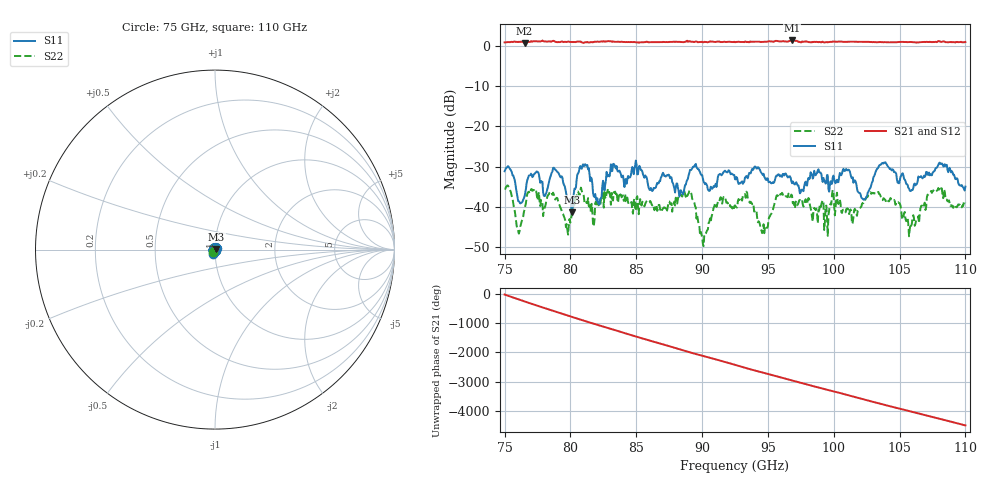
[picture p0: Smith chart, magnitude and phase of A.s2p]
!Created with skrf (http://scikit-rf.org).
# GHz S RI R 50.0
!freq ReS11 ImS11 ReS21 ImS21 ReS12 ImS12 ReS22 ImS22
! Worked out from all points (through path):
!   647 points, 75 GHz to 110 GHz, reference 50 ohm
!   highest |S21| = 1.26 dB at 96.83 GHz (marker M1); lowest = 0.7 dB at 76.52 GHz (marker M2)
!   lowest |S11| = -41.4 dB at 80.1 GHz (marker M3), VSWR 1.02, Z = 50.8 + j0.357 ohm
!   |S11| at or under -10 dB: start of sweep to end of sweep
!   |S22| runs from -49.7 to -34.7 dB; largest |S21 - S12| = 0
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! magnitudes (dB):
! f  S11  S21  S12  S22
! 75 GHz  -31.2  0.8  0.8  -35.5
! 76.03 GHz  -38.5  0.9  0.9  -46.1
! 76.52 GHz  -37.4  0.7  0.7  -40.7
! 78.85 GHz  -30.8  0.9  0.9  -38.2
! 80.1 GHz  -41.4  0.9  0.9  -42.1
! 80.85 GHz  -30.6  0.8  0.8  -35.9
! 82.1 GHz  -39.1  1.0  1.0  -38.8
! 83.24 GHz  -29.4  1.0  1.0  -38.4
! 86.7 GHz  -34.1  0.8  0.8  -39.5
! 89.09 GHz  -30.8  1.1  1.1  -36.0
! 90.12 GHz  -33.7  0.8  0.8  -49.7
! 91.31 GHz  -32.0  1.0  1.0  -38.7
! 92.5 GHz  -33.1  0.8  0.8  -39.6
! 93.31 GHz  -32.6  1.0  1.0  -37.8
! 94.61 GHz  -32.1  0.9  0.9  -46.2
! 96.83 GHz  -34.1  1.3  1.3  -37.2
! 98.35 GHz  -32.0  0.8  0.8  -42.5
! 102.3 GHz  -38.3  0.9  0.9  -38.6
! 104.2 GHz  -30.3  0.8  0.8  -38.6
! 105.8 GHz  -35.9  0.9  0.9  -45.4
! 107.6 GHz  -31.4  0.9  0.9  -36.0
! 110 GHz  -35.0  0.9  0.9  -39.1
